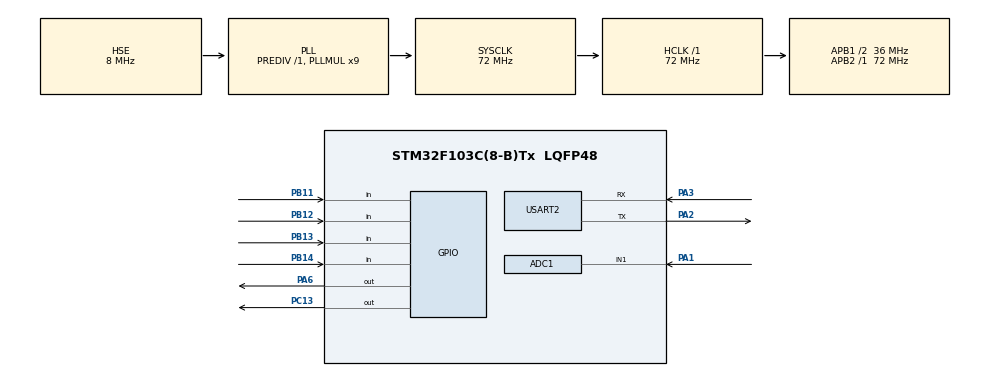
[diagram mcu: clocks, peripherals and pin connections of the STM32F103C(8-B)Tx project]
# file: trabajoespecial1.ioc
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ADC1.Channel-1\#ChannelRegularConversion=ADC_CHANNEL_1
ADC1.NbrOfConversionFlag=1
ADC1.Rank-1\#ChannelRegularConversion=1
ADC1.SamplingTime-1\#ChannelRegularConversion=ADC_SAMPLETIME_239CYCLES_5
ADC1.master=1
Mcu.Family=STM32F1
Mcu.Name=STM32F103C(8-B)Tx
Mcu.Package=LQFP48
NVIC.PriorityGroup=NVIC_PRIORITYGROUP_4
NVIC.TIM2_IRQn=true\:0\:0\:false\:false\:true\:true\:true\:true
NVIC.USART2_IRQn=true\:0\:0\:false\:false\:true\:true\:true\:true
PA1.Signal=SharedAnalog_PA1
PA13.Mode=Serial_Wire
PA13.Signal=SYS_JTMS-SWDIO
PA14.Mode=Serial_Wire
PA14.Signal=SYS_JTCK-SWCLK
PA2.Mode=Asynchronous
PA2.Signal=USART2_TX
PA3.Mode=Asynchronous
PA3.Signal=USART2_RX
PA6.Signal=GPIO_Output
PB11.GPIO_PuPd=GPIO_PULLUP
PB11.Signal=GPIO_Input
PB12.Signal=GPIO_Input
PB13.Signal=GPIO_Input
PB14.Signal=GPIO_Input
PC13-TAMPER-RTC.Signal=GPIO_Output
PD0-OSC_IN.Mode=HSE-External-Oscillator
PD0-OSC_IN.Signal=RCC_OSC_IN
PD1-OSC_OUT.Mode=HSE-External-Oscillator
PD1-OSC_OUT.Signal=RCC_OSC_OUT
ProjectManager.HeapSize=0x200
ProjectManager.StackSize=0x400
ProjectManager.TargetToolchain=STM32CubeIDE
RCC.ADCPresc=RCC_ADCPCLK2_DIV8
RCC.AHBFreq_Value=72000000
RCC.APB1CLKDivider=RCC_HCLK_DIV2
RCC.APB1Freq_Value=36000000
RCC.APB1TimFreq_Value=72000000
RCC.APB2Freq_Value=72000000
RCC.APB2TimFreq_Value=72000000
RCC.HCLKFreq_Value=72000000
RCC.PLLMUL=RCC_PLL_MUL9
RCC.PLLSourceVirtual=RCC_PLLSOURCE_HSE
RCC.SYSCLKFreq_VALUE=72000000
RCC.SYSCLKSource=RCC_SYSCLKSOURCE_PLLCLK
RCC.USBFreq_Value=72000000
SH.SharedAnalog_PA1.0=GPIO_Analog
SH.SharedAnalog_PA1.1=ADC1_IN1,IN1
TIM2.Period=1000
TIM2.Prescaler=71
USART2.VirtualMode=VM_ASYNC
VP_TIM2_VS_ClockSourceINT.Mode=Internal
board=custom

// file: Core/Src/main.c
/* USER CODE BEGIN Header */
/**
  ******************************************************************************
  * @file           : main.c
  * @brief          : Main program body
  ******************************************************************************
  * @attention
  *
  * Copyright (c) 2026 STMicroelectronics.
  * All rights reserved.
  *
  * This software is licensed under terms that can be found in the LICENSE file
  * in the root directory of this software component.
  * If no LICENSE file comes with this software, it is provided AS-IS.
  *
  ******************************************************************************
  */
/* USER CODE END Header */
#include "main.h"

/* USER CODE BEGIN Includes */
#include <menu.h>
/* USER CODE END Includes */

ADC_HandleTypeDef hadc1;

TIM_HandleTypeDef htim2;

UART_HandleTypeDef huart2;

/* USER CODE BEGIN PV */

medicion medidor;
uint8_t rx_byte;
uint32_t botonPresionado;
volatile uint32_t flagBOTON1;
volatile uint32_t flagBOTON2;
volatile uint32_t flagTIMER;

/* USER CODE END PV */

void SystemClock_Config(void);
static void MX_GPIO_Init(void);
static void MX_USART2_UART_Init(void);
static void MX_ADC1_Init(void);
static void MX_TIM2_Init(void);
/* USER CODE BEGIN PFP */

void HAL_UART_RxCpltCallback(UART_HandleTypeDef *huart);
void HAL_TIM_PeriodElapsedCallback(TIM_HandleTypeDef *htim);

/* USER CODE END PFP */

int main(void)
{

  /* MCU Configuration--------------------------------------------------------*/

  /* Reset of all peripherals, Initializes the Flash interface and the Systick. */
  HAL_Init();

  /* Configure the system clock */
  SystemClock_Config();

  /* Initialize all configured peripherals */
  MX_GPIO_Init();
  MX_USART2_UART_Init();
  MX_ADC1_Init();
  MX_TIM2_Init();
  /* USER CODE BEGIN 2 */

  menu_init(&medidor, 1, 1, &huart2, &hadc1, &htim2);
  HAL_UART_Receive_IT(&huart2, &rx_byte, 1);
  HAL_TIM_Base_Start_IT(&htim2);
  /* USER CODE END 2 */

  /* Infinite loop */
  /* USER CODE BEGIN WHILE */
  while (1)
  {
	  if(botonPresionado){
		  if(HAL_GPIO_ReadPin(GPIOB, GPIO_PIN_11)){
			  botonPresionado = 0;
			  HAL_GPIO_WritePin(GPIOA, GPIO_PIN_6, GPIO_PIN_RESET);
		  }
	  } else {
		  if(!HAL_GPIO_ReadPin(GPIOB, GPIO_PIN_11)){
			  botonPresionado = 1;
			  HAL_GPIO_WritePin(GPIOA, GPIO_PIN_6, GPIO_PIN_SET);
			  menu_procesarEvento(&medidor, PULSADOR);
			  HAL_Delay(50);		//Delay anti-rebotes
		  }
	  }

	  if(flagBOTON1){
		  flagBOTON1 = 0;
		  menu_procesarEvento(&medidor, BOTON_1);
	  }

	  if(flagBOTON2){
		  flagBOTON2 = 0;
		  menu_procesarEvento(&medidor, BOTON_2);
	  }

	  if(flagTIMER){
		  flagTIMER = 0;
		  menu_procesarEvento(&medidor, TICK);
	  }

    /* USER CODE END WHILE */

  }
}

void SystemClock_Config(void)
{
  RCC_OscInitTypeDef RCC_OscInitStruct = {0};
  RCC_ClkInitTypeDef RCC_ClkInitStruct = {0};
  RCC_PeriphCLKInitTypeDef PeriphClkInit = {0};

  /** Initializes the RCC Oscillators according to the specified parameters
  * in the RCC_OscInitTypeDef structure.
  */
  RCC_OscInitStruct.OscillatorType = RCC_OSCILLATORTYPE_HSE;
  RCC_OscInitStruct.HSEState = RCC_HSE_ON;
  RCC_OscInitStruct.HSEPredivValue = RCC_HSE_PREDIV_DIV1;
  RCC_OscInitStruct.HSIState = RCC_HSI_ON;
  RCC_OscInitStruct.PLL.PLLState = RCC_PLL_ON;
  RCC_OscInitStruct.PLL.PLLSource = RCC_PLLSOURCE_HSE;
  RCC_OscInitStruct.PLL.PLLMUL = RCC_PLL_MUL9;
  if (HAL_RCC_OscConfig(&RCC_OscInitStruct) != HAL_OK)
  {
    Error_Handler();
  }

  /** Initializes the CPU, AHB and APB buses clocks
  */
  RCC_ClkInitStruct.ClockType = RCC_CLOCKTYPE_HCLK|RCC_CLOCKTYPE_SYSCLK
                              |RCC_CLOCKTYPE_PCLK1|RCC_CLOCKTYPE_PCLK2;
  RCC_ClkInitStruct.SYSCLKSource = RCC_SYSCLKSOURCE_PLLCLK;
  RCC_ClkInitStruct.AHBCLKDivider = RCC_SYSCLK_DIV1;
  RCC_ClkInitStruct.APB1CLKDivider = RCC_HCLK_DIV2;
  RCC_ClkInitStruct.APB2CLKDivider = RCC_HCLK_DIV1;

  if (HAL_RCC_ClockConfig(&RCC_ClkInitStruct, FLASH_LATENCY_2) != HAL_OK)
  {
    Error_Handler();
  }
  PeriphClkInit.PeriphClockSelection = RCC_PERIPHCLK_ADC;
  PeriphClkInit.AdcClockSelection = RCC_ADCPCLK2_DIV8;
  if (HAL_RCCEx_PeriphCLKConfig(&PeriphClkInit) != HAL_OK)
  {
    Error_Handler();
  }
}

static void MX_ADC1_Init(void)
{

  ADC_ChannelConfTypeDef sConfig = {0};

  /** Common config
  */
  hadc1.Instance = ADC1;
  hadc1.Init.ScanConvMode = ADC_SCAN_DISABLE;
  hadc1.Init.ContinuousConvMode = DISABLE;
  hadc1.Init.DiscontinuousConvMode = DISABLE;
  hadc1.Init.ExternalTrigConv = ADC_SOFTWARE_START;
  hadc1.Init.DataAlign = ADC_DATAALIGN_RIGHT;
  hadc1.Init.NbrOfConversion = 1;
  if (HAL_ADC_Init(&hadc1) != HAL_OK)
  {
    Error_Handler();
  }

  /** Configure Regular Channel
  */
  sConfig.Channel = ADC_CHANNEL_1;
  sConfig.Rank = ADC_REGULAR_RANK_1;
  sConfig.SamplingTime = ADC_SAMPLETIME_239CYCLES_5;
  if (HAL_ADC_ConfigChannel(&hadc1, &sConfig) != HAL_OK)
  {
    Error_Handler();
  }

}

static void MX_TIM2_Init(void)
{

  TIM_ClockConfigTypeDef sClockSourceConfig = {0};
  TIM_MasterConfigTypeDef sMasterConfig = {0};

  htim2.Instance = TIM2;
  htim2.Init.Prescaler = 71;
  htim2.Init.CounterMode = TIM_COUNTERMODE_UP;
  htim2.Init.Period = 1000;
  htim2.Init.ClockDivision = TIM_CLOCKDIVISION_DIV1;
  htim2.Init.AutoReloadPreload = TIM_AUTORELOAD_PRELOAD_DISABLE;
  if (HAL_TIM_Base_Init(&htim2) != HAL_OK)
  {
    Error_Handler();
  }
  sClockSourceConfig.ClockSource = TIM_CLOCKSOURCE_INTERNAL;
  if (HAL_TIM_ConfigClockSource(&htim2, &sClockSourceConfig) != HAL_OK)
  {
    Error_Handler();
  }
  sMasterConfig.MasterOutputTrigger = TIM_TRGO_RESET;
  sMasterConfig.MasterSlaveMode = TIM_MASTERSLAVEMODE_DISABLE;
  if (HAL_TIMEx_MasterConfigSynchronization(&htim2, &sMasterConfig) != HAL_OK)
  {
    Error_Handler();
  }

}

static void MX_USART2_UART_Init(void)
{

  huart2.Instance = USART2;
  huart2.Init.BaudRate = 115200;
  huart2.Init.WordLength = UART_WORDLENGTH_8B;
  huart2.Init.StopBits = UART_STOPBITS_1;
  huart2.Init.Parity = UART_PARITY_NONE;
  huart2.Init.Mode = UART_MODE_TX_RX;
  huart2.Init.HwFlowCtl = UART_HWCONTROL_NONE;
  huart2.Init.OverSampling = UART_OVERSAMPLING_16;
  if (HAL_UART_Init(&huart2) != HAL_OK)
  {
    Error_Handler();
  }

}

static void MX_GPIO_Init(void)
{
  GPIO_InitTypeDef GPIO_InitStruct = {0};

  /* GPIO Ports Clock Enable */
  __HAL_RCC_GPIOC_CLK_ENABLE();
  __HAL_RCC_GPIOD_CLK_ENABLE();
  __HAL_RCC_GPIOA_CLK_ENABLE();
  __HAL_RCC_GPIOB_CLK_ENABLE();

  /*Configure GPIO pin Output Level */
  HAL_GPIO_WritePin(GPIOC, GPIO_PIN_13, GPIO_PIN_RESET);

  /*Configure GPIO pin Output Level */
  HAL_GPIO_WritePin(GPIOA, GPIO_PIN_6, GPIO_PIN_RESET);

  /*Configure GPIO pin : PC13 */
  GPIO_InitStruct.Pin = GPIO_PIN_13;
  GPIO_InitStruct.Mode = GPIO_MODE_OUTPUT_PP;
  GPIO_InitStruct.Pull = GPIO_NOPULL;
  GPIO_InitStruct.Speed = GPIO_SPEED_FREQ_LOW;
  HAL_GPIO_Init(GPIOC, &GPIO_InitStruct);

  /*Configure GPIO pin : PA6 */
  GPIO_InitStruct.Pin = GPIO_PIN_6;
  GPIO_InitStruct.Mode = GPIO_MODE_OUTPUT_PP;
  GPIO_InitStruct.Pull = GPIO_NOPULL;
  GPIO_InitStruct.Speed = GPIO_SPEED_FREQ_LOW;
  HAL_GPIO_Init(GPIOA, &GPIO_InitStruct);

  /*Configure GPIO pin : PB11 */
  GPIO_InitStruct.Pin = GPIO_PIN_11;
  GPIO_InitStruct.Mode = GPIO_MODE_INPUT;
  GPIO_InitStruct.Pull = GPIO_PULLUP;
  HAL_GPIO_Init(GPIOB, &GPIO_InitStruct);

  /*Configure GPIO pins : PB12 PB13 PB14 */
  GPIO_InitStruct.Pin = GPIO_PIN_12|GPIO_PIN_13|GPIO_PIN_14;
  GPIO_InitStruct.Mode = GPIO_MODE_INPUT;
  GPIO_InitStruct.Pull = GPIO_NOPULL;
  HAL_GPIO_Init(GPIOB, &GPIO_InitStruct);

}

/* USER CODE BEGIN 4 */
void HAL_UART_RxCpltCallback(UART_HandleTypeDef *huart){
	if (rx_byte == '1') {
		flagBOTON1 = 1;
	} else if(rx_byte == '2'){
		flagBOTON2 = 1;
	}
	//Volver a activar interrupciones por UART
	HAL_UART_Receive_IT(&huart2, &rx_byte, 1);
}
void HAL_TIM_PeriodElapsedCallback(TIM_HandleTypeDef *htim){
	flagTIMER = 1;
}
/* USER CODE END 4 */

void Error_Handler(void)
{
  __disable_irq();
  while (1)
  {
  }
}
